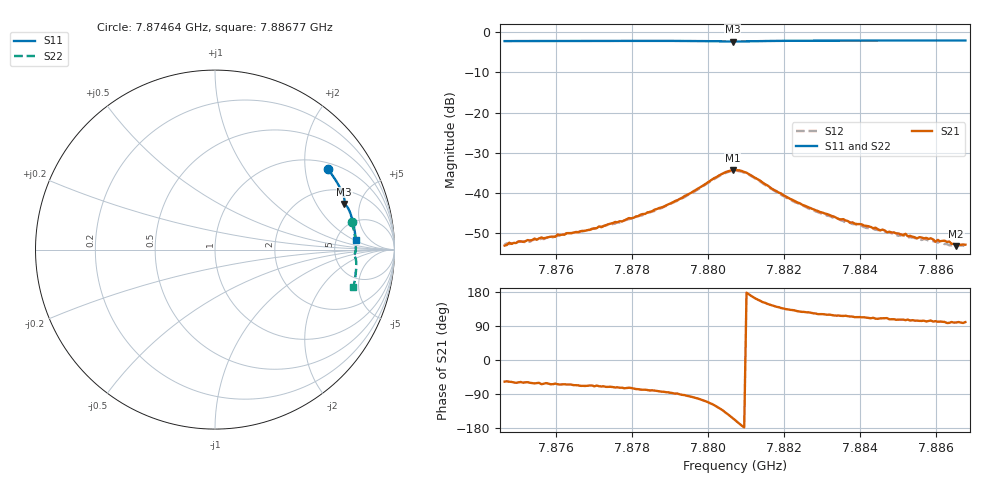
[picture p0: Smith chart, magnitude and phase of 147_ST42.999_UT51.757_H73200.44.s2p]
#  HZ  S  DB  R  50.00
! Rohde & Schwarz Vector Network Analyzer
! Rohde-Schwarz,ZNB20-2Port,1311601062101988,3.16
! Created: UTC 1/12/2023, 6:40:14 PM
! freq[Hz]  db:S11  ang:S11  db:S21  ang:S21  db:S12  ang:S12  db:S22  ang:S22
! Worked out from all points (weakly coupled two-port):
!   201 points, 7.87464 GHz to 7.88677 GHz, reference 50 ohm
!   highest |S21| = -34.31 dB at 7.88064 GHz (marker M1); lowest = -53.2 dB at 7.88652 GHz (marker M2)
!   lowest |S11| = -2.3 dB at 7.88064 GHz (marker M3), VSWR 7.44, Z = 146 + j177 ohm
!   |S11| at or under -10 dB: nowhere
!   |S22| runs from -2.3 to -2.0 dB; largest |S21 - S12| = 0.0013
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7.874636e9  -2.25 35.4  -53.07 -57.0  -52.75 -60.8  -2.20 11.4
7.874757e9  -2.24 35.1  -52.36 -57.3  -52.72 -59.6  -2.19 11.1
7.876698e9  -2.21 29.8  -49.42 -68.2  -49.53 -70.8  -2.13 6.5
7.877729e9  -2.20 27.0  -47.09 -73.1  -47.04 -77.6  -2.11 4.1
7.878699e9  -2.19 24.2  -43.75 -82.8  -43.93 -85.7  -2.11 1.8
7.879367e9  -2.20 22.4  -40.79 -92.5  -41.08 -96.4  -2.11 0.1
7.880337e9  -2.30 19.8  -35.37 -130.1  -35.49 -133.8  -2.21 -2.1
7.88064e9  -2.35 19.4  -34.31 -153.4  -34.51 -156.8  -2.25 -2.3
7.880701e9  -2.34 19.4  -34.34 -158.4  -34.50 -161.9  -2.26 -2.3
7.881004e9  -2.31 19.1  -34.96 177.6  -35.17 173.8  -2.22 -2.4
7.882035e9  -2.18 16.5  -40.84 134.3  -41.10 131.4  -2.07 -4.6
7.882763e9  -2.14 14.4  -44.08 123.1  -44.29 120.0  -2.03 -6.3
7.883612e9  -2.12 12.1  -46.82 116.8  -47.34 111.0  -2.00 -8.3
7.884765e9  -2.10 9.1  -49.63 107.3  -49.75 105.1  -1.98 -10.8
7.885189e9  -2.11 8.0  -50.15 105.2  -50.71 102.7  -1.97 -11.7
7.885493e9  -2.10 7.2  -51.30 104.0  -51.31 101.6  -1.98 -12.4
7.885857e9  -2.09 6.2  -51.27 104.3  -51.97 101.4  -1.96 -13.2
7.885978e9  -2.09 5.9  -52.13 102.6  -52.11 99.4  -1.96 -13.5
7.886039e9  -2.09 5.8  -51.65 100.9  -52.34 97.3  -1.96 -13.6
7.886342e9  -2.09 4.9  -52.07 97.9  -52.99 98.3  -1.95 -14.2
7.886524e9  -2.09 4.5  -53.16 98.9  -52.99 96.7  -1.95 -14.6
7.886766e9  -2.09 3.9  -52.86 100.0  -53.22 96.1  -1.96 -15.1
